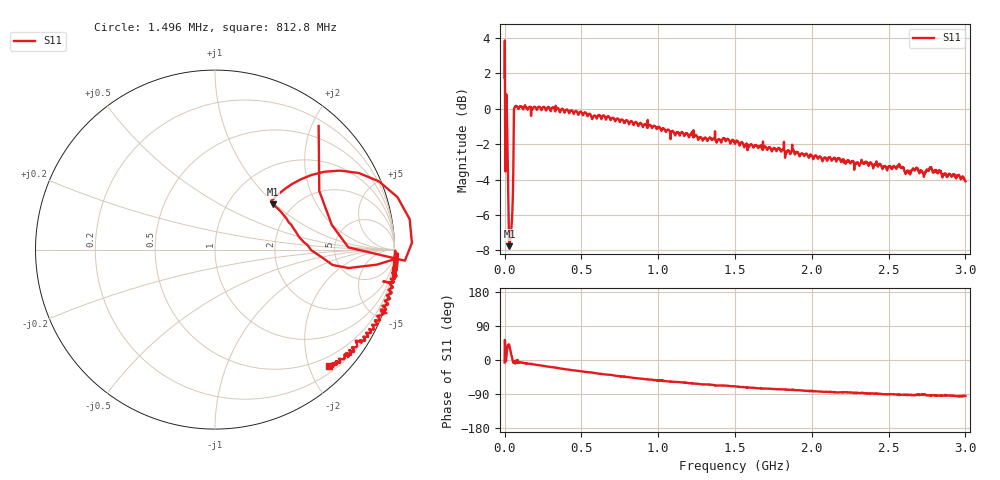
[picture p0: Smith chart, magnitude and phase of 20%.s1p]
# HZ S RI R 50
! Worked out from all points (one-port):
!   2020 points, 10 kHz to 3 GHz, reference 50 ohm
!   lowest |S11| = -7.8 dB at 31.21 MHz (marker M1), VSWR 2.39, Z = 79.4 + j48.3 ohm
!   |S11| at or under -10 dB: nowhere
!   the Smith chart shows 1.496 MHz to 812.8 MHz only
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10000  1.215 -0.1367
5953516  0.6508 0.1375
1.635467e7  0.8019 0.4265
1.932643e7  0.6086 0.4336
2.378406e7  0.4287 0.365
2.675582e7  0.3591 0.3137
3.121346e7  0.3216 0.2533
3.715698e7  0.3837 0.1902
4.310049e7  0.4382 0.1165
5.350164e7  0.5645 -0.0221
6.39028e7  1.003 -0.074
7.133219e7  1.015 -0.0525
7.578983e7  1.017 -0.0211
2.422083e8  0.9606 -0.2587
3.759374e8  0.9182 -0.3938
6.107063e8  0.7745 -0.565
7.503789e8  0.6743 -0.6214
9.316561e8  0.5905 -0.7176
1.126306e9  0.4535 -0.7302
1.500748e9  0.2762 -0.7469
1.875189e9  0.1436 -0.7486
2.072811e9  0.0762 -0.7127
2.251117e9  0.0528 -0.6984
2.573552e9  -0.0202 -0.6859
2.625558e9  -0.0213 -0.6661
2.723626e9  -0.00456 -0.6589
2.769688e9  -0.0435 -0.6816
3e9  -0.0493 -0.6219
